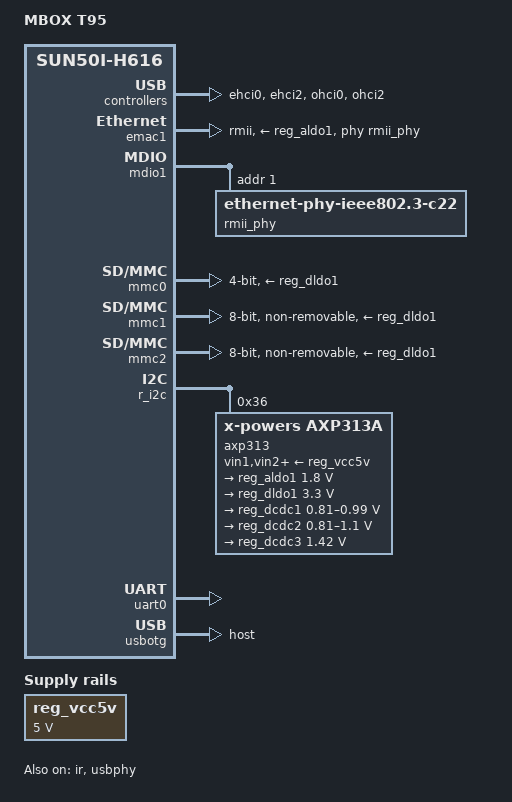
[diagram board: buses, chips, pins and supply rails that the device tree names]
// SPDX-License-Identifier: (GPL-2.0+ or MIT)
/*
 * Copyright (C) 2021 Arm Ltd.
 */

/dts-v1/;

#include "sun50i-h616.dtsi"

#include <dt-bindings/gpio/gpio.h>
#include <dt-bindings/interrupt-controller/arm-gic.h>

/ {
	model = "MBOX T95";
	compatible = "mbox,t95", "allwinner,sun50i-h616";

	aliases {
		ethernet0 = &emac1;
		serial0 = &uart0;
	};

	chosen {
		stdout-path = "serial0:115200n8";
	};

	reg_vcc5v: vcc5v {
		/* board wide 5V supply directly from the DC input */
		compatible = "regulator-fixed";
		regulator-name = "vcc-5v";
		regulator-min-microvolt = <5000000>;
		regulator-max-microvolt = <5000000>;
		regulator-always-on;
	};
};

&ehci0 {
	status = "okay";
};

&ehci2 {
	status = "okay";
};

&emac1 {
	pinctrl-names = "default";
	pinctrl-0 = <&rmii_pins>;
	phy-mode = "rmii";
	phy-handle = <&rmii_phy>;
	phy-supply = <&reg_aldo1>;
	allwinner,rx-delay-ps = <3100>;
	allwinner,tx-delay-ps = <700>;
	status = "okay";
};

&ir {
	status = "okay";
};

&mdio1 {
	rmii_phy: ethernet-phy@1 {
		compatible = "ethernet-phy-ieee802.3-c22";
		reg = <1>;
	};
};

&mmc0 {
	broken-cd;
	bus-width = <4>;
	vmmc-supply = <&reg_dldo1>;
	status = "okay";
};

&mmc1 {
	bus-width = <8>;
	non-removable;
	cap-mmc-hw-reset;
	mmc-ddr-1_8v;
	mmc-hs200-1_8v;
	vmmc-supply = <&reg_dldo1>;
	vqmmc-supply = <&reg_aldo1>;
	status = "okay";
};

&mmc2 {
	bus-width = <8>;
	non-removable;
	cap-mmc-hw-reset;
	mmc-ddr-1_8v;
	mmc-hs200-1_8v;
        vmmc-supply = <&reg_dldo1>;
        vqmmc-supply = <&reg_aldo1>;
	status = "okay";
};

&ohci0 {
	status = "okay";
};

&ohci2 {
	status = "okay";
};

&r_i2c {
	status = "okay";

	axp313: pmic@36 {
		compatible = "x-powers,axp313a";
		#interrupt-controller;
		#interrupt-cells = <1>;
		reg = <0x36>;

		vin1-supply = <&reg_vcc5v>;
		vin2-supply = <&reg_vcc5v>;
		vin3-supply = <&reg_vcc5v>;

		regulators {
			reg_aldo1: aldo1 {
				regulator-always-on;
				regulator-min-microvolt = <1800000>;
				regulator-max-microvolt = <1800000>;
				regulator-name = "vcc1v8";
			};

			reg_dldo1: dldo1 {
				regulator-always-on;
				regulator-min-microvolt = <3300000>;
				regulator-max-microvolt = <3300000>;
				regulator-name = "vcc3v3";
			};

			reg_dcdc1: dcdc1 {
				regulator-always-on;
				regulator-min-microvolt = <810000>;
				regulator-max-microvolt = <990000>;
				regulator-name = "vdd-gpu-sys";
			};

			reg_dcdc2: dcdc2 {
				regulator-always-on;
				regulator-min-microvolt = <810000>;
				regulator-max-microvolt = <1100000>;
				regulator-name = "vdd-cpu";
			};

			reg_dcdc3: dcdc3 {
				regulator-always-on;
				regulator-min-microvolt = <1420000>;
				regulator-max-microvolt = <1420000>;
				regulator-name = "vdd-dram";
			};
		};
	};
};

&pio {
	vcc-pc-supply = <&reg_dldo1>;
	vcc-pf-supply = <&reg_dldo1>;
	vcc-pg-supply = <&reg_aldo1>;
	vcc-ph-supply = <&reg_dldo1>;
	vcc-pi-supply = <&reg_dldo1>;
};

&uart0 {
	pinctrl-names = "default";
	pinctrl-0 = <&uart0_ph_pins>;
	status = "okay";
};

&usbotg {
	dr_mode = "host";	/* USB A type receptable */
	status = "okay";
};

&usbphy {
	status = "okay";
};
